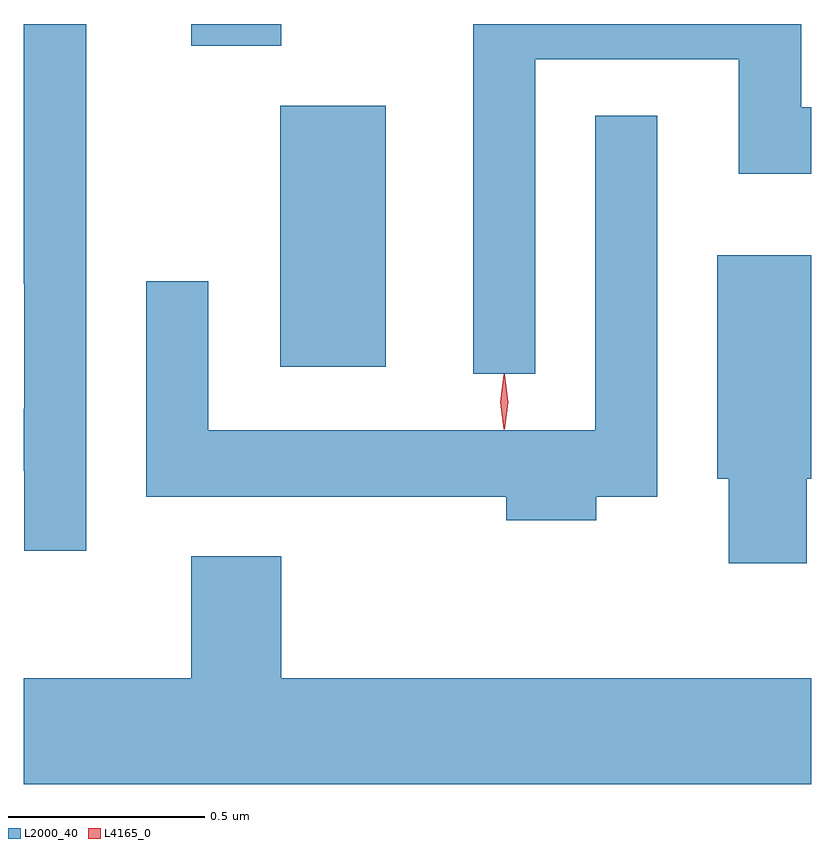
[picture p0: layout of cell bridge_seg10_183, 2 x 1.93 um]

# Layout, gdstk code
import gdstk
lib = gdstk.Library(unit=1e-6, precision=1e-09)
def R(c, l, rs):  # rectangles x0, y0, x1, y1
    for r in rs: c.add(gdstk.rectangle(r[:2], r[2:], *l))
def P(c, l, *ps):  # polygons
    for p in ps: c.add(gdstk.Polygon(p, *l))
L2000_40 = (2000, 40)
L4165_0 = (4165, 0)

bridge_seg10_183 = lib.new_cell('bridge_seg10_183')
R(bridge_seg10_183, L2000_40, [(1696.006,2090.556,1696.274,2091.219), (1695.781,2091.371,1696.009,2091.426)])
P(bridge_seg10_183, L2000_40, [(1696.654,2091.336),(1697.171,2091.336),(1697.171,2091.046),(1697.355,2091.046),(1697.355,2091.214),(1697.329,2091.214),(1697.329,2091.426),(1696.496,2091.426),(1696.496,2090.538),(1696.654,2090.538)],
  [(1695.514,2091.426),(1695.355,2091.426),(1695.355,2090.766),(1695.356,2090.766),(1695.356,2090.449),(1695.355,2090.449),(1695.355,2090.291),(1695.356,2090.291),(1695.356,2090.088),(1695.514,2090.088)],
  [(1696.809,2090.226),(1696.964,2090.226),(1696.964,2091.193),(1696.806,2091.193),(1696.806,2090.394),(1695.824,2090.394),(1695.824,2090.773),(1695.666,2090.773),(1695.666,2090.226),(1696.581,2090.226),(1696.581,2090.166),(1696.809,2090.166)],
  [(1697.344,2090.271),(1697.355,2090.271),(1697.355,2090.839),(1697.116,2090.839),(1697.116,2090.271),(1697.146,2090.271),(1697.146,2090.056),(1697.344,2090.056)],
  [(1697.355,2089.764),(1696.009,2089.764),(1696.009,2090.074),(1695.781,2090.074),(1695.781,2089.764),(1695.355,2089.764),(1695.355,2089.496),(1697.355,2089.496)])
P(bridge_seg10_183, L4165_0, [(1696.575,2090.399),(1696.574,2090.4),(1696.565,2090.466),(1696.574,2090.532),(1696.575,2090.533),(1696.575,2090.532),(1696.585,2090.466),(1696.575,2090.4)],
  [(1696.574,2090.397),(1696.565,2090.466),(1696.574,2090.536),(1696.575,2090.536),(1696.576,2090.536),(1696.585,2090.466),(1696.576,2090.397),(1696.575,2090.397)])

lib.write_gds('bridge_seg10_183.gds')
